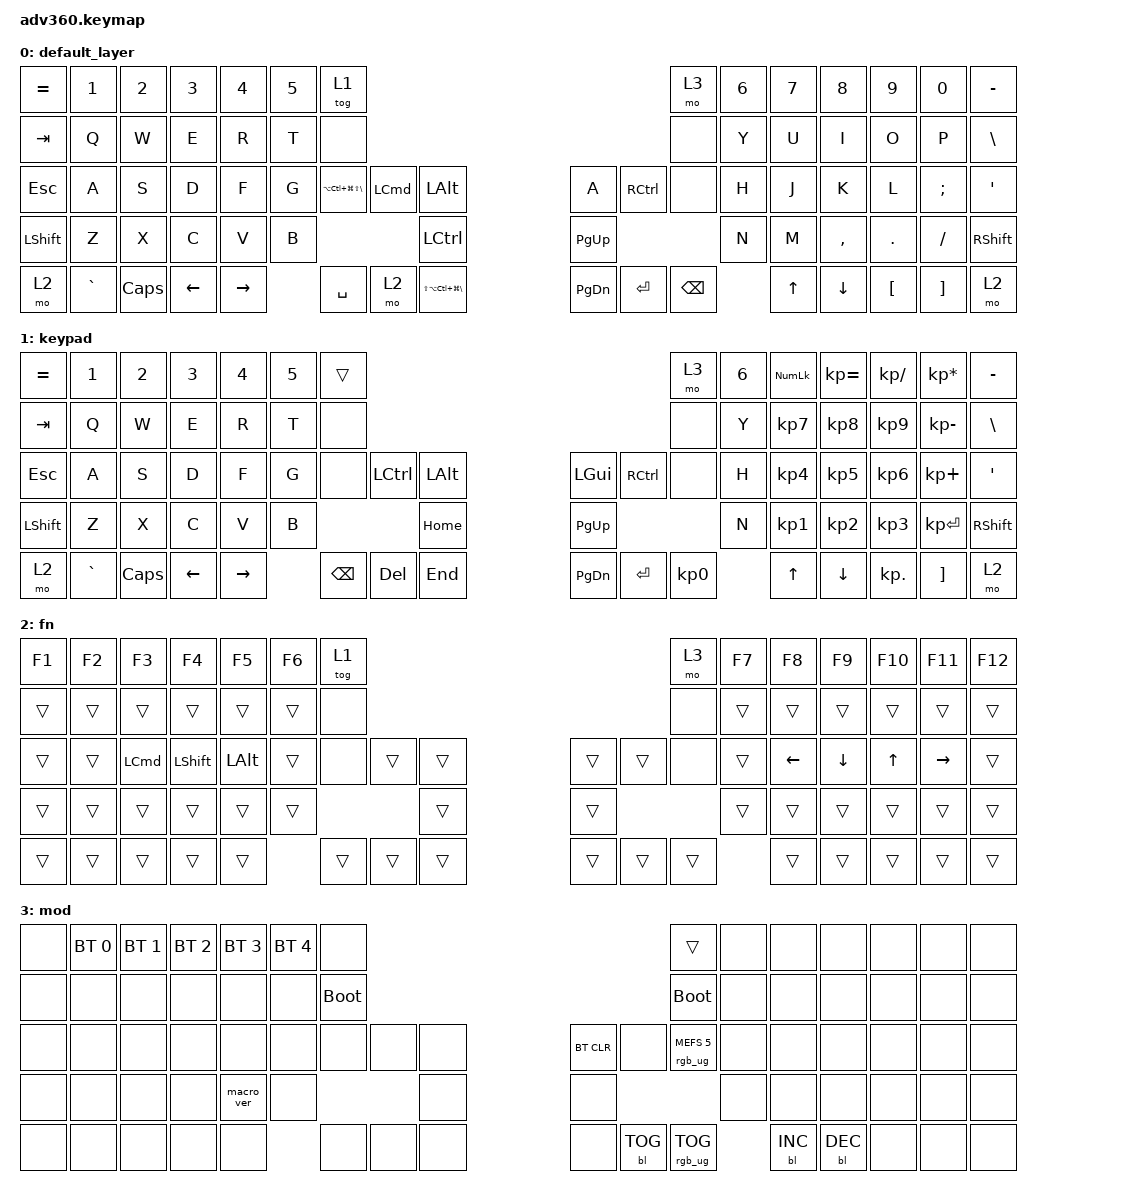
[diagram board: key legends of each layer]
#include <behaviors.dtsi>
#include <dt-bindings/zmk/backlight.h>
#include <dt-bindings/zmk/bt.h>
#include <dt-bindings/zmk/keys.h>
#include <dt-bindings/zmk/rgb.h>

/ {
    behaviors {
        #include "macros.dtsi"
      #include "version.dtsi"
      #ifndef VERSION_MACRO

        macro_ver: macro_ver {
            compatible = "zmk,behavior-macro";
            label = "macro_version";
            #binding-cells = <0>;
            bindings = <&kp RET>;
        };

        #endif

        mom_layer_modifier: mom_layer_modifier {
            compatible = "zmk,behavior-macro-two-param";
            wait-ms = <0>;
            tap-ms = <0>;
            #binding-cells = <2>;
            bindings =
                <&macro_param_1to1>,
                <&macro_press>,
                <&mo MACRO_PLACEHOLDER &macro_param_2to1>,
                <&macro_press>,
                <&kp MACRO_PLACEHOLDER>,
                <&macro_pause_for_release>,
                <&macro_param_2to1>,
                <&macro_release>,
                <&kp MACRO_PLACEHOLDER &macro_param_1to1>,
                <&macro_release>,
                <&mo MACRO_PLACEHOLDER>;
        };

        hm: homerow_mods {
            compatible = "zmk,behavior-hold-tap";
            label = "HOMEROW_MODS";
            #binding-cells = <2>;
            tapping-term-ms = <200>;
            quick_tap_ms = <175>;
            flavor = "tap-preferred";
            bindings = <&kp>, <&kp>;
        };

        hold_tap_with_mom_layer: hold_tap_with_mom_layer {
            compatible = "zmk,behavior-hold-tap";
            label = "HOLD_TAP_WITH_MOM_LAYER";
            bindings = <&mom_layer_modifier>, <&kp>;

            #binding-cells = <2>;
            tapping-term-ms = <200>;
        };
    };

    macros {
    };

    keymap {
        compatible = "zmk,keymap";

        default_layer {
            bindings = <
&kp EQUAL  &kp N1     &kp N2    &kp N3    &kp N4     &kp N5  &tog 1                                                                                                    &mo 3          &kp N6  &kp N7  &kp N8     &kp N9    &kp N0    &kp MINUS
&kp TAB    &kp Q      &kp W     &kp E     &kp R      &kp T   &none                                                                                                     &none          &kp Y   &kp U   &kp I      &kp O     &kp P     &kp BSLH
&kp ESC    &kp A      &kp S     &kp D     &kp F      &kp G   &kp LA(LC(LG(LS(BACKSLASH))))  &kp LEFT_COMMAND  &kp LEFT_ALT                       &kp A      &kp RCTRL  &none          &kp H   &kp J   &kp K      &kp L     &kp SEMI  &kp SQT
&kp LSHFT  &kp Z      &kp X     &kp C     &kp V      &kp B                                                    &kp LEFT_CONTROL                   &kp PG_UP                            &kp N   &kp M   &kp COMMA  &kp DOT   &kp FSLH  &kp RSHFT
&mo 2      &kp GRAVE  &kp CAPS  &kp LEFT  &kp RIGHT          &kp SPACE                      &mo 2             &kp LS(LA(LC(LG(BACKSLASH))))      &kp PG_DN  &kp ENTER  &kp BACKSPACE          &kp UP  &kp DOWN   &kp LBKT  &kp RBKT  &mo 2
            >;
        };

        keypad {
            bindings = <
&kp EQUAL  &kp N1     &kp N2    &kp N3    &kp N4     &kp N5  &trans                                                   &mo 3      &kp N6  &kp KP_NUM  &kp KP_EQUAL  &kp KP_DIVIDE  &kp KP_MULTIPLY  &kp MINUS
&kp TAB    &kp Q      &kp W     &kp E     &kp R      &kp T   &none                                                    &none      &kp Y   &kp KP_N7   &kp KP_N8     &kp KP_N9      &kp KP_MINUS     &kp BSLH
&kp ESC    &kp A      &kp S     &kp D     &kp F      &kp G   &none     &kp LCTRL  &kp LALT      &kp LGUI   &kp RCTRL  &none      &kp H   &kp KP_N4   &kp KP_N5     &kp KP_N6      &kp KP_PLUS      &kp SQT
&kp LSHFT  &kp Z      &kp X     &kp C     &kp V      &kp B                        &kp HOME      &kp PG_UP                        &kp N   &kp KP_N1   &kp KP_N2     &kp KP_N3      &kp KP_ENTER     &kp RSHFT
&mo 2      &kp GRAVE  &kp CAPS  &kp LEFT  &kp RIGHT          &kp BSPC  &kp DEL    &kp END       &kp PG_DN  &kp ENTER  &kp KP_N0          &kp UP      &kp DOWN      &kp KP_DOT     &kp RBKT         &mo 2
            >;
        };

        fn {
            bindings = <
&kp F1  &kp F2  &kp F3            &kp F4          &kp F5        &kp F6  &tog 1                                      &mo 3   &kp F7  &kp F8    &kp F9    &kp F10  &kp F11    &kp F12
&trans  &trans  &trans            &trans          &trans        &trans  &none                                       &none   &trans  &trans    &trans    &trans   &trans     &trans
&trans  &trans  &kp LEFT_COMMAND  &kp LEFT_SHIFT  &kp LEFT_ALT  &trans  &none   &trans  &trans      &trans  &trans  &none   &trans  &kp LEFT  &kp DOWN  &kp UP   &kp RIGHT  &trans
&trans  &trans  &trans            &trans          &trans        &trans                  &trans      &trans                  &trans  &trans    &trans    &trans   &trans     &trans
&trans  &trans  &trans            &trans          &trans                &trans  &trans  &trans      &trans  &trans  &trans          &trans    &trans    &trans   &trans     &trans
            >;
        };

        mod {
            bindings = <
&none  &bt BT_SEL 0  &bt BT_SEL 1  &bt BT_SEL 2  &bt BT_SEL 3  &bt BT_SEL 4  &none                                                  &trans                  &none  &none       &none       &none  &none  &none
&none  &none         &none         &none         &none         &none         &bootloader                                            &bootloader             &none  &none       &none       &none  &none  &none
&none  &none         &none         &none         &none         &none         &none        &none  &none      &bt BT_CLR  &none       &rgb_ug RGB_MEFS_CMD 5  &none  &none       &none       &none  &none  &none
&none  &none         &none         &none         &macro_ver    &none                             &none      &none                                           &none  &none       &none       &none  &none  &none
&none  &none         &none         &none         &none                       &none        &none  &none      &none       &bl BL_TOG  &rgb_ug RGB_TOG                &bl BL_INC  &bl BL_DEC  &none  &none  &none
            >;
        };
    };
};
